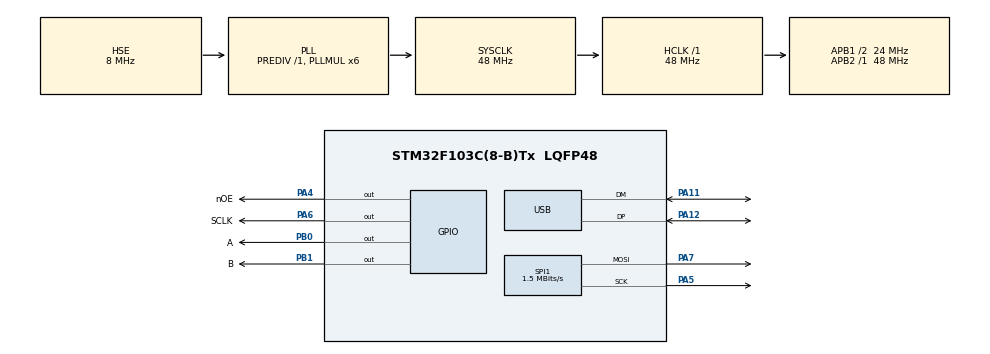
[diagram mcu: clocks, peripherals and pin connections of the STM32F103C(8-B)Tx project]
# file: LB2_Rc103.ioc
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Mcu.Family=STM32F1
Mcu.Name=STM32F103C(8-B)Tx
Mcu.Package=LQFP48
NVIC.PriorityGroup=NVIC_PRIORITYGROUP_4
NVIC.SPI1_IRQn=true\:0\:0\:false\:false\:true\:true\:true\:true
NVIC.USB_LP_CAN1_RX0_IRQn=true\:0\:0\:false\:false\:true\:false\:true\:true
PA11.Mode=Device
PA11.Signal=USB_DM
PA12.Mode=Device
PA12.Signal=USB_DP
PA13.Mode=Serial_Wire
PA13.Signal=SYS_JTMS-SWDIO
PA14.Mode=Serial_Wire
PA14.Signal=SYS_JTCK-SWCLK
PA4.GPIO_Label=nOE
PA4.Signal=GPIO_Output
PA5.Mode=TX_Only_Simplex_Unidirect_Master
PA5.Signal=SPI1_SCK
PA6.GPIO_Label=SCLK
PA6.Signal=GPIO_Output
PA7.Mode=TX_Only_Simplex_Unidirect_Master
PA7.Signal=SPI1_MOSI
PB0.GPIO_Label=A
PB0.Signal=GPIO_Output
PB1.GPIO_Label=B
PB1.Signal=GPIO_Output
PD0-OSC_IN.Mode=HSE-External-Oscillator
PD0-OSC_IN.Signal=RCC_OSC_IN
PD1-OSC_OUT.Mode=HSE-External-Oscillator
PD1-OSC_OUT.Signal=RCC_OSC_OUT
ProjectManager.HeapSize=0x200
ProjectManager.StackSize=0x400
ProjectManager.TargetToolchain=STM32CubeIDE
RCC.AHBFreq_Value=48000000
RCC.APB1CLKDivider=RCC_HCLK_DIV2
RCC.APB1Freq_Value=24000000
RCC.APB1TimFreq_Value=48000000
RCC.APB2Freq_Value=48000000
RCC.APB2TimFreq_Value=48000000
RCC.HCLKFreq_Value=48000000
RCC.PLLMUL=RCC_PLL_MUL6
RCC.SYSCLKFreq_VALUE=48000000
RCC.SYSCLKSource=RCC_SYSCLKSOURCE_PLLCLK
RCC.USBFreq_Value=48000000
SPI1.BaudRatePrescaler=SPI_BAUDRATEPRESCALER_32
SPI1.CalculateBaudRate=1.5 MBits/s
SPI1.Direction=SPI_DIRECTION_2LINES
SPI1.Mode=SPI_MODE_MASTER
SPI1.VirtualType=VM_MASTER
USB_DEVICE.APP_RX_DATA_SIZE=1024
USB_DEVICE.APP_TX_DATA_SIZE=1024
USB_DEVICE.CLASS_NAME_FS=CDC
USB_DEVICE.VirtualMode=Cdc
USB_DEVICE.VirtualModeFS=Cdc_FS
VP_USB_DEVICE_VS_USB_DEVICE_CDC_FS.Mode=CDC_FS
board=custom

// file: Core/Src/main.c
/* USER CODE BEGIN Header */
/**
  ******************************************************************************
  * @file           : main.c
  * @brief          : Main program body
  ******************************************************************************
  * @attention
  *
  * Copyright (c) 2023 STMicroelectronics.
  * All rights reserved.
  *
  * This software is licensed under terms that can be found in the LICENSE file
  * in the root directory of this software component.
  * If no LICENSE file comes with this software, it is provided AS-IS.
  *
  ******************************************************************************
  */
/* USER CODE END Header */
#include "main.h"
#include "spi.h"
#include "usb_device.h"
#include "gpio.h"

/* USER CODE BEGIN Includes */
#include "usbd_cdc_if.h"
#include "string.h"

#include "math.h"
#include <locale.h>
#include <time.h>
#include "disp1color.h"
#include "font.h"
/* USER CODE END Includes */

/* USER CODE BEGIN PD */
#define f6x8_MONO_WIDTH 6
#define WIDTH 32
#define HEIGHT 16
#define MAX_LENGTH 100
/* USER CODE END PD */

/* USER CODE BEGIN PV */
uint8_t buffer[2];
extern uint8_t data1[16], data2[16], data3[16], data4[16];
int8_t hitbox1[WIDTH] = {50, 50, 50, 50, 50, 50, 50, 50, 50, 50, 50, 50, 50, 50, 50, 50, 50, 50, 50, 50, 50, 50, 50, 50, 50, 50, 50, 50, 50, 50, 50, 50};
uint8_t x = 50, y,z;
/* USER CODE END PV */

void SystemClock_Config(void);

/* USER CODE BEGIN 0 */
void disp_row(uint16_t row) {

	if (row == 0) {

		for (uint8_t i = 0; i < 6; i++) {
			HAL_SPI_Transmit(&hspi1, &data1, 16, 10);
		}

		HAL_GPIO_WritePin(SCLK_GPIO_Port, SCLK_Pin, GPIO_PIN_RESET);
		HAL_GPIO_WritePin(SCLK_GPIO_Port, SCLK_Pin, GPIO_PIN_SET);

		HAL_GPIO_WritePin(A_GPIO_Port, A_Pin, GPIO_PIN_RESET);
		HAL_GPIO_WritePin(B_GPIO_Port, B_Pin, GPIO_PIN_RESET);
	}
	if (row == 1) {

		for (uint8_t i = 0; i < 6; i++) {
			HAL_SPI_Transmit(&hspi1, &data2, 16, 10);
		}

		HAL_GPIO_WritePin(SCLK_GPIO_Port, SCLK_Pin, GPIO_PIN_RESET);
		HAL_GPIO_WritePin(SCLK_GPIO_Port, SCLK_Pin, GPIO_PIN_SET);

		HAL_GPIO_WritePin(A_GPIO_Port, A_Pin, GPIO_PIN_SET);
		HAL_GPIO_WritePin(B_GPIO_Port, B_Pin, GPIO_PIN_RESET);
	}

	if (row == 2) {

		for (uint8_t i = 0; i < 6; i++) {
			HAL_SPI_Transmit(&hspi1, &data3, 16, 10);
		}

		HAL_GPIO_WritePin(SCLK_GPIO_Port, SCLK_Pin, GPIO_PIN_RESET);
		HAL_GPIO_WritePin(SCLK_GPIO_Port, SCLK_Pin, GPIO_PIN_SET);

		HAL_GPIO_WritePin(A_GPIO_Port, A_Pin, GPIO_PIN_RESET);
		HAL_GPIO_WritePin(B_GPIO_Port, B_Pin, GPIO_PIN_SET);
	}

	if (row == 3) {

		for (uint8_t i = 0; i < 6; i++) {
			HAL_SPI_Transmit(&hspi1, &data4, 16, 10);
		}

		HAL_GPIO_WritePin(SCLK_GPIO_Port, SCLK_Pin, GPIO_PIN_RESET);
		HAL_GPIO_WritePin(SCLK_GPIO_Port, SCLK_Pin, GPIO_PIN_SET);

		HAL_GPIO_WritePin(A_GPIO_Port, A_Pin, GPIO_PIN_SET);
		HAL_GPIO_WritePin(B_GPIO_Port, B_Pin, GPIO_PIN_SET);
	}

	HAL_GPIO_WritePin(nOE_GPIO_Port, nOE_Pin, GPIO_PIN_SET);
	for (uint32_t x = 0; x <= 300; x++) {
	};
	HAL_GPIO_WritePin(nOE_GPIO_Port, nOE_Pin, GPIO_PIN_RESET);
}
/* USER CODE END 0 */

int main(void)
{

  /* MCU Configuration--------------------------------------------------------*/

  /* Reset of all peripherals, Initializes the Flash interface and the Systick. */
  HAL_Init();

  /* Configure the system clock */
  SystemClock_Config();

  /* Initialize all configured peripherals */
  MX_GPIO_Init();
  MX_SPI1_Init();
  MX_USB_DEVICE_Init();

  /* Infinite loop */
  /* USER CODE BEGIN WHILE */
  while (1)
  {
	if (buffer[1] == 10) {
		x = (buffer[0] - 48);
	}
	else {
		x = 10 * (buffer[0] - 48);
		x += buffer[1] - 48;
		x -= 1;
	}
	y = buffer[0];
	z = buffer[1];
	// случай, когда массив не заполнен
	if (hitbox1[0] == 50) {
		for (int8_t i = WIDTH-1; i >= 0; i--) {
			if (hitbox1[i] == 50) {
				hitbox1[i] = x;
				break;
			}
		}
	}

	// случай, когда весь массив заполнен
	if (hitbox1[0] != 50) {
		hitbox1[31] = 50;
		for (int8_t i = WIDTH-1; i >= 0; i--) {
			hitbox1[i] = hitbox1[i-1];
		}
		hitbox1[0] = x;
	}

	// рисуем на доске
	for (uint16_t i = 0; i < HEIGHT; i++) {
		for (int8_t j = WIDTH-1; j >= 0; j--) {
			disp1color_DrawPixel(j, i, 0);
		}
	}

	for (int8_t i = WIDTH-1; i >= 0; i--) {
		disp1color_DrawPixel(i, hitbox1[i], 1);
	}

	  disp1color_UpdateFromBuff();
	  prepare_data();
	  for (uint8_t i = 0; i < 20; i++) {
		  disp_row(0);
		  disp_row(1);
		  disp_row(2);
		  disp_row(3);
	  }
    /* USER CODE END WHILE */

  }
}

void SystemClock_Config(void)
{
  RCC_OscInitTypeDef RCC_OscInitStruct = {0};
  RCC_ClkInitTypeDef RCC_ClkInitStruct = {0};
  RCC_PeriphCLKInitTypeDef PeriphClkInit = {0};

  /** Initializes the RCC Oscillators according to the specified parameters
  * in the RCC_OscInitTypeDef structure.
  */
  RCC_OscInitStruct.OscillatorType = RCC_OSCILLATORTYPE_HSE;
  RCC_OscInitStruct.HSEState = RCC_HSE_ON;
  RCC_OscInitStruct.HSEPredivValue = RCC_HSE_PREDIV_DIV1;
  RCC_OscInitStruct.HSIState = RCC_HSI_ON;
  RCC_OscInitStruct.PLL.PLLState = RCC_PLL_ON;
  RCC_OscInitStruct.PLL.PLLSource = RCC_PLLSOURCE_HSE;
  RCC_OscInitStruct.PLL.PLLMUL = RCC_PLL_MUL6;
  if (HAL_RCC_OscConfig(&RCC_OscInitStruct) != HAL_OK)
  {
    Error_Handler();
  }

  /** Initializes the CPU, AHB and APB buses clocks
  */
  RCC_ClkInitStruct.ClockType = RCC_CLOCKTYPE_HCLK|RCC_CLOCKTYPE_SYSCLK
                              |RCC_CLOCKTYPE_PCLK1|RCC_CLOCKTYPE_PCLK2;
  RCC_ClkInitStruct.SYSCLKSource = RCC_SYSCLKSOURCE_PLLCLK;
  RCC_ClkInitStruct.AHBCLKDivider = RCC_SYSCLK_DIV1;
  RCC_ClkInitStruct.APB1CLKDivider = RCC_HCLK_DIV2;
  RCC_ClkInitStruct.APB2CLKDivider = RCC_HCLK_DIV1;

  if (HAL_RCC_ClockConfig(&RCC_ClkInitStruct, FLASH_LATENCY_1) != HAL_OK)
  {
    Error_Handler();
  }
  PeriphClkInit.PeriphClockSelection = RCC_PERIPHCLK_USB;
  PeriphClkInit.UsbClockSelection = RCC_USBCLKSOURCE_PLL;
  if (HAL_RCCEx_PeriphCLKConfig(&PeriphClkInit) != HAL_OK)
  {
    Error_Handler();
  }
}

void Error_Handler(void)
{
  __disable_irq();
  while (1)
  {
  }
}
